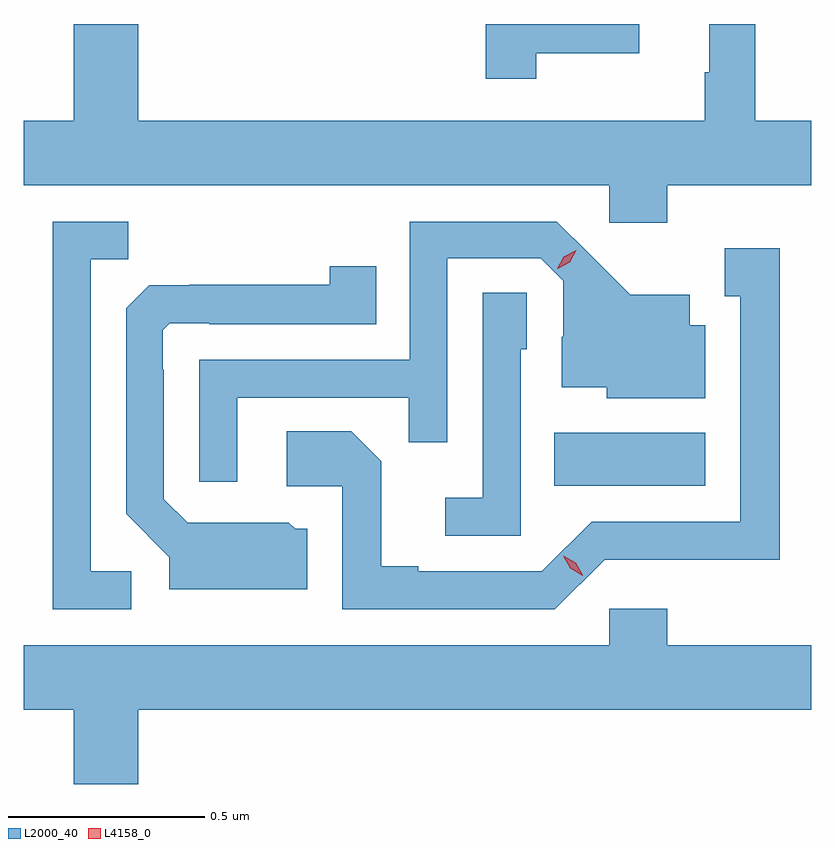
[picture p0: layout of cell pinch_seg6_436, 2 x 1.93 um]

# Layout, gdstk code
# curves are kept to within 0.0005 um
import gdstk
lib = gdstk.Library(unit=1e-6, precision=1e-09)
def R(c, l, rs):  # rectangles x0, y0, x1, y1
    for r in rs: c.add(gdstk.rectangle(r[:2], r[2:], *l))
def P(c, l, *ps):  # polygons
    for p in ps: c.add(gdstk.Polygon(p, *l))
L2000_40 = (2000, 40)
L4158_0 = (4158, 0)

pinch_seg6_436 = lib.new_cell('pinch_seg6_436')
R(pinch_seg6_436, L2000_40, [(645.748,923.93,646.132,924.064)])
P(pinch_seg6_436, L2000_40, [(646.035,924.692),(646.401,924.692),(646.401,924.856),(646.259,924.856),(646.259,925.102),(646.142,925.102),(646.142,924.98),(646.131,924.98),(646.131,924.856),(644.692,924.856),(644.692,925.102),(644.528,925.102),(644.528,924.856),(644.401,924.856),(644.401,924.692),(645.888,924.692),(645.888,924.597),(646.035,924.597)],
  [(645.703,925.028),(645.964,925.028),(645.964,925.102),(645.574,925.102),(645.574,924.963),(645.703,924.963)],
  [(644.674,923.712),(644.571,923.712),(644.571,924.505),(644.667,924.505),(644.667,924.6),(644.475,924.6),(644.475,923.616),(644.674,923.616)],
  [(644.943,924.153),(645.379,924.153),(645.379,924.04),(645.477,924.04),(645.477,924.507),(645.714,924.507),(645.771,924.45),(645.771,924.308),(645.767,924.308),(645.767,924.179),(645.882,924.179),(645.882,924.152),(646.132,924.152),(646.132,924.337),(646.093,924.337),(646.093,924.415),(645.941,924.415),(645.754,924.6),(645.381,924.6),(645.381,924.249),(644.847,924.249),(644.847,923.94),(644.943,923.94)],
  [(645.876,923.742),(646.098,923.742),(646.098,923.741),(646.321,923.741),(646.321,924.532),(646.181,924.532),(646.181,924.411),(646.22,924.411),(646.22,923.838),(645.843,923.838),(645.717,923.712),(645.403,923.712),(645.403,923.725),(645.309,923.725),(645.309,923.992),(645.233,924.068),(645.069,924.068),(645.069,923.928),(645.21,923.928),(645.21,923.616),(645.75,923.616)],
  [(645.121,923.82),(645.09,923.82),(645.074,923.836),(644.94,923.836),(644.94,923.835),(644.817,923.835),(644.757,923.895),(644.757,924.224),(644.754,924.224),(644.754,924.324),(644.772,924.342),(644.872,924.342),(644.872,924.339),(645.296,924.339),(645.296,924.487),(645.178,924.487),(645.178,924.44),(644.821,924.44),(644.821,924.439),(644.72,924.439),(644.661,924.38),(644.661,923.858),(644.771,923.748),(644.771,923.666),(645.121,923.666)],
  [(645.663,924.276),(645.678,924.276),(645.678,924.419),(645.567,924.419),(645.567,923.899),(645.471,923.899),(645.471,923.802),(645.663,923.802)],
  [(644.692,923.36),(646.401,923.36),(646.401,923.524),(646.035,923.524),(646.035,923.617),(645.888,923.617),(645.888,923.524),(644.401,923.524),(644.401,923.36),(644.528,923.36),(644.528,923.172),(644.692,923.172)])
P(pinch_seg6_436, L4158_0, [(645.821,923.701),(645.789,923.72),(645.771,923.752),(645.771,923.752),(645.771,923.752),(645.803,923.734),(645.821,923.702),(645.821,923.701)],
  [(645.756,924.481),(645.756,924.481),(645.773,924.511),(645.804,924.527),(645.804,924.527),(645.804,924.527),(645.787,924.497),(645.757,924.481)])

lib.write_gds('pinch_seg6_436.gds')
